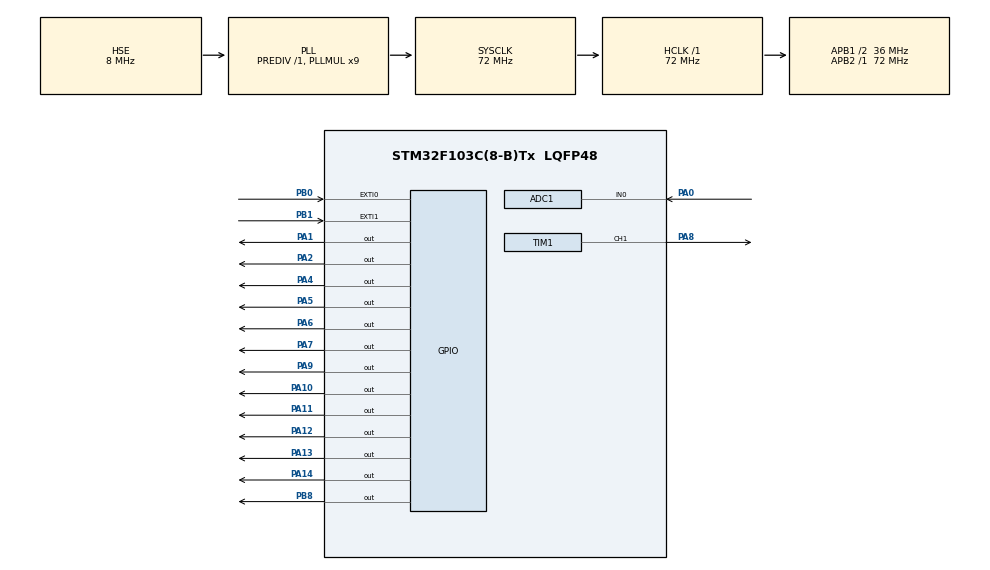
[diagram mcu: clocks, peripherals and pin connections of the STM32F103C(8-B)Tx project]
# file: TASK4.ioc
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ADC1.Channel-0\#ChannelRegularConversion=ADC_CHANNEL_0
ADC1.ContinuousConvMode=ENABLE
ADC1.NbrOfConversionFlag=1
ADC1.Rank-0\#ChannelRegularConversion=1
ADC1.SamplingTime-0\#ChannelRegularConversion=ADC_SAMPLETIME_1CYCLE_5
ADC1.master=1
Mcu.Family=STM32F1
Mcu.Name=STM32F103C(8-B)Tx
Mcu.Package=LQFP48
NVIC.EXTI0_IRQn=true\:0\:0\:false\:false\:true\:true\:true\:true
NVIC.EXTI1_IRQn=true\:1\:0\:true\:false\:true\:true\:true\:true
NVIC.PriorityGroup=NVIC_PRIORITYGROUP_4
PA0-WKUP.Signal=ADCx_IN0
PA1.Signal=GPIO_Output
PA10.Signal=GPIO_Output
PA11.Signal=GPIO_Output
PA12.Signal=GPIO_Output
PA13.Signal=GPIO_Output
PA14.Signal=GPIO_Output
PA2.Signal=GPIO_Output
PA4.Signal=GPIO_Output
PA5.Signal=GPIO_Output
PA6.Signal=GPIO_Output
PA7.Signal=GPIO_Output
PA8.Signal=S_TIM1_CH1
PA9.Signal=GPIO_Output
PB0.GPIO_ModeDefaultEXTI=GPIO_MODE_IT_FALLING
PB0.GPIO_PuPd=GPIO_PULLUP
PB0.Signal=GPXTI0
PB1.GPIO_ModeDefaultEXTI=GPIO_MODE_IT_FALLING
PB1.GPIO_PuPd=GPIO_PULLUP
PB1.Signal=GPXTI1
PB8.Signal=GPIO_Output
PD0-OSC_IN.Mode=HSE-External-Oscillator
PD0-OSC_IN.Signal=RCC_OSC_IN
PD1-OSC_OUT.Mode=HSE-External-Oscillator
PD1-OSC_OUT.Signal=RCC_OSC_OUT
ProjectManager.HeapSize=0x200
ProjectManager.StackSize=0x400
ProjectManager.TargetToolchain=STM32CubeIDE
RCC.ADCPresc=RCC_ADCPCLK2_DIV6
RCC.AHBFreq_Value=72000000
RCC.APB1CLKDivider=RCC_HCLK_DIV2
RCC.APB1Freq_Value=36000000
RCC.APB1TimFreq_Value=72000000
RCC.APB2Freq_Value=72000000
RCC.APB2TimFreq_Value=72000000
RCC.HCLKFreq_Value=72000000
RCC.PLLMUL=RCC_PLL_MUL9
RCC.PLLSourceVirtual=RCC_PLLSOURCE_HSE
RCC.SYSCLKFreq_VALUE=72000000
RCC.SYSCLKSource=RCC_SYSCLKSOURCE_PLLCLK
RCC.USBFreq_Value=72000000
SH.ADCx_IN0.0=ADC1_IN0,IN0
SH.S_TIM1_CH1.0=TIM1_CH1,PWM Generation1 CH1
TIM1.AutoReloadPreload=TIM_AUTORELOAD_PRELOAD_DISABLE
TIM1.Channel-PWM\ Generation1\ CH1=TIM_CHANNEL_1
TIM1.Period=2000-1
TIM1.Prescaler=1080-1
VP_SYS_VS_ND.Mode=No_Debug
VP_TIM1_VS_ClockSourceINT.Mode=Internal
board=custom

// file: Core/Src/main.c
/* USER CODE BEGIN Header */
/**
  ******************************************************************************
  * @file           : main.c
  * @brief          : Main program body
  ******************************************************************************
  * @attention
  *
  * Copyright (c) 2025 STMicroelectronics.
  * All rights reserved.
  *
  * This software is licensed under terms that can be found in the LICENSE file
  * in the root directory of this software component.
  * If no LICENSE file comes with this software, it is provided AS-IS.
  *
  ******************************************************************************
  */
/* USER CODE END Header */
#include "main.h"

/* USER CODE BEGIN Includes */
void Traffic_Control(void);
void Led_Blinking(uint16_t Pin);
void ISR0_EXTI_IRQHandler(void);
void ISR1_EXTI_IRQHandler(void);
#define NORMAL_MODE 0
#define OFF_MODE 1
#define EMERGENCY_MODE 2
#define LED_RED GPIO_PIN_12
#define LED_YELLOW GPIO_PIN_13
#define LED_GREEN GPIO_PIN_14
#include "../../ECUAL/LCD16X2/LCD16X2.h"
#define MyLCD LCD16X2_1
#include <stdlib.h>
#include <stdio.h>
void user_pwm_setvalue(uint16_t value);
/* USER CODE END Includes */

/* USER CODE BEGIN PTD */

uint8_t Mode=NORMAL_MODE;
/* USER CODE END PTD */

ADC_HandleTypeDef hadc1;

TIM_HandleTypeDef htim1;

void SystemClock_Config(void);
static void MX_GPIO_Init(void);
static void MX_ADC1_Init(void);
static void MX_TIM1_Init(void);

int main(void)
{

  /* MCU Configuration--------------------------------------------------------*/

  /* Reset of all peripherals, Initializes the Flash interface and the Systick. */
  HAL_Init();

  /* Configure the system clock */
  SystemClock_Config();

  /* Initialize all configured peripherals */
  MX_GPIO_Init();
  MX_ADC1_Init();
  MX_TIM1_Init();
  /* USER CODE BEGIN 2 */
  HAL_TIM_PWM_Start(&htim1,TIM_CHANNEL_1);
  __HAL_TIM_SET_COMPARE(&htim1, TIM_CHANNEL_1, 2000);
  /* USER CODE END 2 */

  /* Infinite loop */
  /* USER CODE BEGIN WHILE */
  LCD16X2_Init(MyLCD);
  LCD16X2_Clear(MyLCD);
  LCD16X2_Set_Cursor(MyLCD, 1, 1);
  LCD16X2_Write_String(MyLCD, "  Welcome");
  HAL_Delay(1000);
  HAL_ADC_Start(&hadc1);
  char LCD_buffer[12]={'\0'};
  uint8_t Leds_Value=0;
  uint16_t adc_val=0;

  while (1)
  {
    /* USER CODE END WHILE */

    /* USER CODE BEGIN 3 */
	  HAL_Delay(500);
	 	  	  	 	  LCD16X2_Clear(MyLCD);
	 	  	  	 	  switch(Mode)
	 	  	  	 	  {
	 	  	  	 	  case NORMAL_MODE:
	 	  	  	 		 LCD16X2_Set_Cursor(MyLCD, 1, 1);
	 	  	  	 	     LCD16X2_Write_String(MyLCD, "Traffic:RUNNING");
	 	  	  	 		 Traffic_Control();
	 	  	  	 	     HAL_ADC_PollForConversion(&hadc1, HAL_MAX_DELAY);
	 	  	  	 		 adc_val = HAL_ADC_GetValue(&hadc1);
	 	  	  	 		 Leds_Value = adc_val & 0x0F;
	 	  	  	         //itoa(adc_val, LCD_buffer, 10);
	 	  	  	         sprintf(LCD_buffer,"%.3f V",(adc_val/4095.0)*(3.3));

	 	  	  	 	     LCD16X2_Set_Cursor(MyLCD, 2, 1);
	 	  	  	 	     LCD16X2_Write_String(MyLCD,"ADC : ");
	 	  	  	 	     LCD16X2_Write_String(MyLCD,LCD_buffer);
	 	  	  	      	 HAL_GPIO_WritePin(GPIOB, GPIO_PIN_8, (Leds_Value & 0x01) ? GPIO_PIN_SET : GPIO_PIN_RESET);
	 	  	     	 	 HAL_GPIO_WritePin(GPIOA, GPIO_PIN_9, (Leds_Value & 0x02) ? GPIO_PIN_SET : GPIO_PIN_RESET);
	 	  	  	 	 	 HAL_GPIO_WritePin(GPIOA, GPIO_PIN_10,(Leds_Value & 0x04) ? GPIO_PIN_SET : GPIO_PIN_RESET);
	 	  	  	 		 HAL_GPIO_WritePin(GPIOA, GPIO_PIN_11,(Leds_Value & 0x08) ? GPIO_PIN_SET : GPIO_PIN_RESET);
	 	  	  	 		 //50% duty motor
	 	  	  	       	__HAL_TIM_SET_COMPARE(&htim1, TIM_CHANNEL_1, 1000);
	 	  	  	 		 break;
	 	  	  	 	  case OFF_MODE:
	 	  	  	 		 LCD16X2_Write_String(MyLCD,"Traffic:STOPPED");

	 	  	  	 		 //0% duty motor
	 	  	  	 	__HAL_TIM_SET_COMPARE(&htim1, TIM_CHANNEL_1, 2000);
	 	  	  	 		 break;
	 	  	  	 	  case EMERGENCY_MODE:
	 	  	  	 		 LCD16X2_Write_String(MyLCD,"Traffic:EMERGENCY");
	 	  	  	 		 Led_Blinking(LED_RED);
	 	  	  	 		 //75% duty
	 	  	  	 	__HAL_TIM_SET_COMPARE(&htim1, TIM_CHANNEL_1, 500);
	 	  	  	 		  break;
	 	  	  	 	  }

  }
  /* USER CODE END 3 */
}

void SystemClock_Config(void)
{
  RCC_OscInitTypeDef RCC_OscInitStruct = {0};
  RCC_ClkInitTypeDef RCC_ClkInitStruct = {0};
  RCC_PeriphCLKInitTypeDef PeriphClkInit = {0};

  /** Initializes the RCC Oscillators according to the specified parameters
  * in the RCC_OscInitTypeDef structure.
  */
  RCC_OscInitStruct.OscillatorType = RCC_OSCILLATORTYPE_HSE;
  RCC_OscInitStruct.HSEState = RCC_HSE_ON;
  RCC_OscInitStruct.HSEPredivValue = RCC_HSE_PREDIV_DIV1;
  RCC_OscInitStruct.HSIState = RCC_HSI_ON;
  RCC_OscInitStruct.PLL.PLLState = RCC_PLL_ON;
  RCC_OscInitStruct.PLL.PLLSource = RCC_PLLSOURCE_HSE;
  RCC_OscInitStruct.PLL.PLLMUL = RCC_PLL_MUL9;
  if (HAL_RCC_OscConfig(&RCC_OscInitStruct) != HAL_OK)
  {
    Error_Handler();
  }

  /** Initializes the CPU, AHB and APB buses clocks
  */
  RCC_ClkInitStruct.ClockType = RCC_CLOCKTYPE_HCLK|RCC_CLOCKTYPE_SYSCLK
                              |RCC_CLOCKTYPE_PCLK1|RCC_CLOCKTYPE_PCLK2;
  RCC_ClkInitStruct.SYSCLKSource = RCC_SYSCLKSOURCE_PLLCLK;
  RCC_ClkInitStruct.AHBCLKDivider = RCC_SYSCLK_DIV1;
  RCC_ClkInitStruct.APB1CLKDivider = RCC_HCLK_DIV2;
  RCC_ClkInitStruct.APB2CLKDivider = RCC_HCLK_DIV1;

  if (HAL_RCC_ClockConfig(&RCC_ClkInitStruct, FLASH_LATENCY_2) != HAL_OK)
  {
    Error_Handler();
  }
  PeriphClkInit.PeriphClockSelection = RCC_PERIPHCLK_ADC;
  PeriphClkInit.AdcClockSelection = RCC_ADCPCLK2_DIV6;
  if (HAL_RCCEx_PeriphCLKConfig(&PeriphClkInit) != HAL_OK)
  {
    Error_Handler();
  }
}

static void MX_ADC1_Init(void)
{

  ADC_ChannelConfTypeDef sConfig = {0};

  /** Common config
  */
  hadc1.Instance = ADC1;
  hadc1.Init.ScanConvMode = ADC_SCAN_DISABLE;
  hadc1.Init.ContinuousConvMode = ENABLE;
  hadc1.Init.DiscontinuousConvMode = DISABLE;
  hadc1.Init.ExternalTrigConv = ADC_SOFTWARE_START;
  hadc1.Init.DataAlign = ADC_DATAALIGN_RIGHT;
  hadc1.Init.NbrOfConversion = 1;
  if (HAL_ADC_Init(&hadc1) != HAL_OK)
  {
    Error_Handler();
  }

  /** Configure Regular Channel
  */
  sConfig.Channel = ADC_CHANNEL_0;
  sConfig.Rank = ADC_REGULAR_RANK_1;
  sConfig.SamplingTime = ADC_SAMPLETIME_1CYCLE_5;
  if (HAL_ADC_ConfigChannel(&hadc1, &sConfig) != HAL_OK)
  {
    Error_Handler();
  }

}

static void MX_TIM1_Init(void)
{

  TIM_ClockConfigTypeDef sClockSourceConfig = {0};
  TIM_MasterConfigTypeDef sMasterConfig = {0};
  TIM_OC_InitTypeDef sConfigOC = {0};
  TIM_BreakDeadTimeConfigTypeDef sBreakDeadTimeConfig = {0};

  htim1.Instance = TIM1;
  htim1.Init.Prescaler = 1080-1;
  htim1.Init.CounterMode = TIM_COUNTERMODE_UP;
  htim1.Init.Period = 2000-1;
  htim1.Init.ClockDivision = TIM_CLOCKDIVISION_DIV1;
  htim1.Init.RepetitionCounter = 0;
  htim1.Init.AutoReloadPreload = TIM_AUTORELOAD_PRELOAD_DISABLE;
  if (HAL_TIM_Base_Init(&htim1) != HAL_OK)
  {
    Error_Handler();
  }
  sClockSourceConfig.ClockSource = TIM_CLOCKSOURCE_INTERNAL;
  if (HAL_TIM_ConfigClockSource(&htim1, &sClockSourceConfig) != HAL_OK)
  {
    Error_Handler();
  }
  if (HAL_TIM_PWM_Init(&htim1) != HAL_OK)
  {
    Error_Handler();
  }
  sMasterConfig.MasterOutputTrigger = TIM_TRGO_RESET;
  sMasterConfig.MasterSlaveMode = TIM_MASTERSLAVEMODE_DISABLE;
  if (HAL_TIMEx_MasterConfigSynchronization(&htim1, &sMasterConfig) != HAL_OK)
  {
    Error_Handler();
  }
  sConfigOC.OCMode = TIM_OCMODE_PWM1;
  sConfigOC.Pulse = 0;
  sConfigOC.OCPolarity = TIM_OCPOLARITY_HIGH;
  sConfigOC.OCNPolarity = TIM_OCNPOLARITY_HIGH;
  sConfigOC.OCFastMode = TIM_OCFAST_DISABLE;
  sConfigOC.OCIdleState = TIM_OCIDLESTATE_RESET;
  sConfigOC.OCNIdleState = TIM_OCNIDLESTATE_RESET;
  if (HAL_TIM_PWM_ConfigChannel(&htim1, &sConfigOC, TIM_CHANNEL_1) != HAL_OK)
  {
    Error_Handler();
  }
  sBreakDeadTimeConfig.OffStateRunMode = TIM_OSSR_DISABLE;
  sBreakDeadTimeConfig.OffStateIDLEMode = TIM_OSSI_DISABLE;
  sBreakDeadTimeConfig.LockLevel = TIM_LOCKLEVEL_OFF;
  sBreakDeadTimeConfig.DeadTime = 0;
  sBreakDeadTimeConfig.BreakState = TIM_BREAK_DISABLE;
  sBreakDeadTimeConfig.BreakPolarity = TIM_BREAKPOLARITY_HIGH;
  sBreakDeadTimeConfig.AutomaticOutput = TIM_AUTOMATICOUTPUT_DISABLE;
  if (HAL_TIMEx_ConfigBreakDeadTime(&htim1, &sBreakDeadTimeConfig) != HAL_OK)
  {
    Error_Handler();
  }
  HAL_TIM_MspPostInit(&htim1);

}
void user_pwm_setvalue(uint16_t value)
{
    TIM_OC_InitTypeDef sConfigOC;

    sConfigOC.OCMode = TIM_OCMODE_PWM1;
    sConfigOC.Pulse = value;
    sConfigOC.OCPolarity = TIM_OCPOLARITY_HIGH;
    sConfigOC.OCFastMode = TIM_OCFAST_DISABLE;
    HAL_TIM_PWM_ConfigChannel(&htim1, &sConfigOC, TIM_CHANNEL_1);
    HAL_TIM_PWM_Start(&htim1, TIM_CHANNEL_1);
}

static void MX_GPIO_Init(void)
{
  GPIO_InitTypeDef GPIO_InitStruct = {0};

  /* GPIO Ports Clock Enable */
  __HAL_RCC_GPIOD_CLK_ENABLE();
  __HAL_RCC_GPIOA_CLK_ENABLE();
  __HAL_RCC_GPIOB_CLK_ENABLE();

  /*Configure GPIO pin Output Level */
  HAL_GPIO_WritePin(GPIOA, GPIO_PIN_1|GPIO_PIN_2|GPIO_PIN_4|GPIO_PIN_5
                          |GPIO_PIN_6|GPIO_PIN_7|GPIO_PIN_9|GPIO_PIN_10
                          |GPIO_PIN_11|GPIO_PIN_12|GPIO_PIN_13|GPIO_PIN_14, GPIO_PIN_RESET);

  /*Configure GPIO pin Output Level */
  HAL_GPIO_WritePin(GPIOB, GPIO_PIN_8, GPIO_PIN_RESET);

  /*Configure GPIO pins : PA1 PA2 PA4 PA5
                           PA6 PA7 PA9 PA10
                           PA11 PA12 PA13 PA14 */
  GPIO_InitStruct.Pin = GPIO_PIN_1|GPIO_PIN_2|GPIO_PIN_4|GPIO_PIN_5
                          |GPIO_PIN_6|GPIO_PIN_7|GPIO_PIN_9|GPIO_PIN_10
                          |GPIO_PIN_11|GPIO_PIN_12|GPIO_PIN_13|GPIO_PIN_14;
  GPIO_InitStruct.Mode = GPIO_MODE_OUTPUT_PP;
  GPIO_InitStruct.Pull = GPIO_NOPULL;
  GPIO_InitStruct.Speed = GPIO_SPEED_FREQ_LOW;
  HAL_GPIO_Init(GPIOA, &GPIO_InitStruct);

  /*Configure GPIO pins : PB0 PB1 */
  GPIO_InitStruct.Pin = GPIO_PIN_0|GPIO_PIN_1;
  GPIO_InitStruct.Mode = GPIO_MODE_IT_FALLING;
  GPIO_InitStruct.Pull = GPIO_PULLUP;
  HAL_GPIO_Init(GPIOB, &GPIO_InitStruct);

  /*Configure GPIO pin : PB8 */
  GPIO_InitStruct.Pin = GPIO_PIN_8;
  GPIO_InitStruct.Mode = GPIO_MODE_OUTPUT_PP;
  GPIO_InitStruct.Pull = GPIO_NOPULL;
  GPIO_InitStruct.Speed = GPIO_SPEED_FREQ_LOW;
  HAL_GPIO_Init(GPIOB, &GPIO_InitStruct);

  /* EXTI interrupt init*/
  HAL_NVIC_SetPriority(EXTI0_IRQn, 0, 0);
  HAL_NVIC_EnableIRQ(EXTI0_IRQn);

  HAL_NVIC_SetPriority(EXTI1_IRQn, 1, 0);
  HAL_NVIC_EnableIRQ(EXTI1_IRQn);

}

/* USER CODE BEGIN 4 */
void Led_Blinking(uint16_t Pin)
{
	 HAL_GPIO_WritePin(GPIOA, Pin, GPIO_PIN_SET);
	 HAL_Delay(500);
	 HAL_GPIO_WritePin(GPIOA, Pin, GPIO_PIN_RESET);
	 HAL_Delay(500);
	 HAL_GPIO_WritePin(GPIOA, Pin, GPIO_PIN_SET);
	 HAL_Delay(500);
	 HAL_GPIO_WritePin(GPIOA, Pin, GPIO_PIN_RESET);
	 HAL_Delay(500);

}
void Traffic_Control(void)
{
	Led_Blinking(LED_RED);
	Led_Blinking(LED_YELLOW);
	Led_Blinking(LED_GREEN);
}
void ISR0_EXTI_IRQHandler(void)
{
	if(Mode==NORMAL_MODE)
	{
		Mode=OFF_MODE;
	}
	else
	{
		Mode=NORMAL_MODE;
	}
}
void ISR1_EXTI_IRQHandler(void)
{
	Mode=EMERGENCY_MODE;
}
/* USER CODE END 4 */

void Error_Handler(void)
{
  __disable_irq();
  while (1)
  {
  }
}
